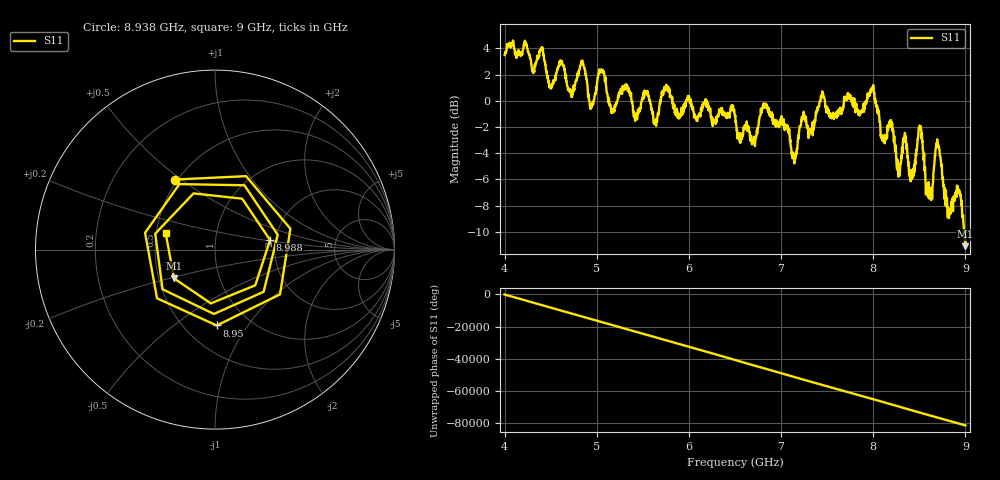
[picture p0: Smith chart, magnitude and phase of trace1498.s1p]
! Created with skrf 1.8.0 (http://scikit-rf.org).
# Hz S RI R 50.0
!freq ReS11 ImS11
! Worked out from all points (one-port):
!   1601 points, 4 GHz to 9 GHz, reference 50 ohm
!   lowest |S11| = -11.1 dB at 8.997 GHz (marker M1), VSWR 1.77, Z = 30.1 - j10.5 ohm
!   |S11| at or under -10 dB: 8.986076 GHz to end of sweep
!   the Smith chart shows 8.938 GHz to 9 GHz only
!   S11 on the Smith chart (normalised r, x): 8.938 GHz: 0.48, +0.47; 8.95 GHz: 0.71, -0.73; 8.988 GHz: 1.87, +0.22; 9 GHz: 0.56, +0.11
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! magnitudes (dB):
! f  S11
! 4 GHz  3.5
! 4.625 GHz  2.8
! 4.719 GHz  0.6
! 4.85 GHz  2.8
! 4.941 GHz  -0.4
! 5.05 GHz  2.4
! 5.162 GHz  -0.8
! 5.25 GHz  0.6
! 5.875 GHz  -1.0
! 6.5 GHz  -1.2
! 6.703 GHz  -3.2
! 6.828 GHz  -0.3
! 7.125 GHz  -4.4
! 7.441 GHz  0.4
! 7.75 GHz  0.4
! 7.991 GHz  0.9
! 8.275 GHz  -5.4
! 8.375 GHz  -4.2
! 8.425 GHz  -5.9
! 8.509 GHz  -2.1
! 8.594 GHz  -7.3
! 8.7 GHz  -3.3
! 8.819 GHz  -8.7
! 8.938 GHz  -6.9
! 8.95 GHz  -7.5
! 8.988 GHz  -10.1
! 8.997 GHz  -11.1
! 9 GHz  -10.8
